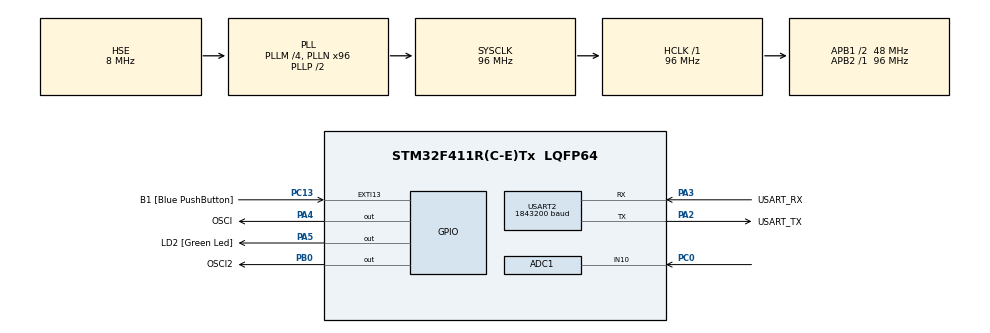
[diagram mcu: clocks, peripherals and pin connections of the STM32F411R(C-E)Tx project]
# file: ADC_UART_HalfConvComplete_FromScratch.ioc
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ADC1.Channel-0\#ChannelRegularConversion=ADC_CHANNEL_10
ADC1.ContinuousConvMode=ENABLE
ADC1.DMAContinuousRequests=ENABLE
ADC1.NbrOfConversionFlag=1
ADC1.Rank-0\#ChannelRegularConversion=1
ADC1.Resolution=ADC_RESOLUTION_8B
ADC1.SamplingTime-0\#ChannelRegularConversion=ADC_SAMPLETIME_480CYCLES
ADC1.master=1
Dma.ADC1.1.Direction=DMA_PERIPH_TO_MEMORY
Dma.ADC1.1.FIFOMode=DMA_FIFOMODE_DISABLE
Dma.ADC1.1.Instance=DMA2_Stream0
Dma.ADC1.1.MemDataAlignment=DMA_MDATAALIGN_BYTE
Dma.ADC1.1.MemInc=DMA_MINC_ENABLE
Dma.ADC1.1.Mode=DMA_CIRCULAR
Dma.ADC1.1.PeriphDataAlignment=DMA_PDATAALIGN_BYTE
Dma.ADC1.1.PeriphInc=DMA_PINC_DISABLE
Dma.ADC1.1.Priority=DMA_PRIORITY_LOW
Dma.Request0=USART2_TX
Dma.Request1=ADC1
Dma.USART2_TX.0.Direction=DMA_MEMORY_TO_PERIPH
Dma.USART2_TX.0.FIFOMode=DMA_FIFOMODE_DISABLE
Dma.USART2_TX.0.Instance=DMA1_Stream6
Dma.USART2_TX.0.MemDataAlignment=DMA_MDATAALIGN_BYTE
Dma.USART2_TX.0.MemInc=DMA_MINC_ENABLE
Dma.USART2_TX.0.Mode=DMA_NORMAL
Dma.USART2_TX.0.PeriphDataAlignment=DMA_PDATAALIGN_BYTE
Dma.USART2_TX.0.PeriphInc=DMA_PINC_DISABLE
Dma.USART2_TX.0.Priority=DMA_PRIORITY_LOW
Mcu.Family=STM32F4
Mcu.Name=STM32F411R(C-E)Tx
Mcu.Package=LQFP64
NVIC.DMA1_Stream6_IRQn=true\:0\:0\:false\:false\:true\:false\:true\:true
NVIC.DMA2_Stream0_IRQn=true\:0\:0\:false\:false\:true\:false\:true\:true
NVIC.PriorityGroup=NVIC_PRIORITYGROUP_0
NVIC.USART2_IRQn=true\:0\:0\:false\:false\:true\:true\:true\:true
PA13.GPIO_Label=TMS
PA13.Mode=Serial_Wire
PA13.Signal=SYS_JTMS-SWDIO
PA14.GPIO_Label=TCK
PA14.Mode=Serial_Wire
PA14.Signal=SYS_JTCK-SWCLK
PA2.GPIO_Label=USART_TX
PA2.Mode=Asynchronous
PA2.Signal=USART2_TX
PA3.GPIO_Label=USART_RX
PA3.Mode=Asynchronous
PA3.Signal=USART2_RX
PA4.GPIO_Label=OSCI
PA4.GPIO_Speed=GPIO_SPEED_FREQ_VERY_HIGH
PA4.Signal=GPIO_Output
PA5.GPIO_Label=LD2 [Green Led]
PA5.Signal=GPIO_Output
PB0.GPIO_Label=OSCI2
PB0.Signal=GPIO_Output
PB3.GPIO_Label=SWO
PB3.Signal=SYS_JTDO-SWO
PC0.Signal=ADCx_IN10
PC13-ANTI_TAMP.GPIO_Label=B1 [Blue PushButton]
PC13-ANTI_TAMP.GPIO_ModeDefaultEXTI=GPIO_MODE_IT_FALLING
PC13-ANTI_TAMP.Signal=GPXTI13
PC14-OSC32_IN.Mode=LSE-External-Oscillator
PC14-OSC32_IN.Signal=RCC_OSC32_IN
PC15-OSC32_OUT.Mode=LSE-External-Oscillator
PC15-OSC32_OUT.Signal=RCC_OSC32_OUT
PH0\ -\ OSC_IN.Mode=HSE-External-Clock-Source
PH0\ -\ OSC_IN.Signal=RCC_OSC_IN
PH1\ -\ OSC_OUT.Mode=HSE-External-Clock-Source
PH1\ -\ OSC_OUT.Signal=RCC_OSC_OUT
ProjectManager.HeapSize=0x800
ProjectManager.StackSize=0x1000
ProjectManager.TargetToolchain=STM32CubeIDE
RCC.48MHZClocksFreq_Value=48000000
RCC.AHBFreq_Value=96000000
RCC.APB1CLKDivider=RCC_HCLK_DIV2
RCC.APB1Freq_Value=48000000
RCC.APB1TimFreq_Value=96000000
RCC.APB2Freq_Value=96000000
RCC.APB2TimFreq_Value=96000000
RCC.CortexFreq_Value=96000000
RCC.FLatency-AdvancedSettings=FLASH_LATENCY_3
RCC.HCLKFreq_Value=96000000
RCC.HSE_VALUE=8000000
RCC.HSI_VALUE=16000000
RCC.PLLM=4
RCC.PLLN=96
RCC.PLLSourceVirtual=RCC_PLLSOURCE_HSE
RCC.SYSCLKFreq_VALUE=96000000
RCC.SYSCLKSource=RCC_SYSCLKSOURCE_PLLCLK
RCC.VCOOutputFreq_Value=192000000
SH.ADCx_IN10.0=ADC1_IN10,IN10
USART2.BaudRate=1843200
USART2.Mode=MODE_TX
USART2.VirtualMode=VM_ASYNC
board=NUCLEO-F411RE

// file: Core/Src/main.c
/* USER CODE BEGIN Header */
/**
  ******************************************************************************
  * @file           : main.c
  * @brief          : Main program body
  ******************************************************************************
  * @attention
  *
  * Copyright (c) 2022 STMicroelectronics.
  * All rights reserved.
  *
  * This software is licensed under terms that can be found in the LICENSE file
  * in the root directory of this software component.
  * If no LICENSE file comes with this software, it is provided AS-IS.
  *
  ******************************************************************************
  */
/* USER CODE END Header */
#include "main.h"
#include "adc.h"
#include "dma.h"
#include "usart.h"
#include "gpio.h"

/* USER CODE BEGIN Includes */
#include "arm_math.h"
/* USER CODE END Includes */

/* USER CODE BEGIN PD */

/*maximum 8bit values*/
#define EIGHTBIT 256
/*Length of UART array*/
#define ARRAYLEN 2048
/* USER CODE END PD */

/* USER CODE BEGIN PV */
uint8_t val[ARRAYLEN]; //values to send via UART1
uint16_t i,n; //

float FFTInBuffer[ARRAYLEN];
float FFTOutBuffer[ARRAYLEN];

arm_rfft_fast_instance_f32 FFTHandler;

volatile uint8_t SamplesReady;

uint8_t OutFreqArray[10];
/* USER CODE END PV */

void SystemClock_Config(void);
/* USER CODE BEGIN PFP */
void CalculateFFT(void);
/* USER CODE END PFP */

int main(void)
{

  /* MCU Configuration--------------------------------------------------------*/

  /* Reset of all peripherals, Initializes the Flash interface and the Systick. */
  HAL_Init();

  /* Configure the system clock */
  SystemClock_Config();

  /* Initialize all configured peripherals */
  MX_GPIO_Init();
  MX_DMA_Init();
  MX_USART2_UART_Init();
  MX_ADC1_Init();
  /* USER CODE BEGIN 2 */
  /* array generation for UART testing*/
  /*
  for(n = 0; n < ARRAYLEN/EIGHTBIT; n++){
	  for(i = 0; i < EIGHTBIT; i++){
	  	  val[n*EIGHTBIT + i] = i;
	  }
  }
  */
  HAL_ADC_Start_DMA(&hadc1,(uint32_t*) val, ARRAYLEN);

  arm_rfft_fast_init_f32(&FFTHandler, ARRAYLEN);
  /* USER CODE END 2 */

  /* Infinite loop */
  /* USER CODE BEGIN WHILE */
  while (1)
  {
	  if(SamplesReady == 1)
	  {
		  SamplesReady = 0;

		  for(uint32_t i = 0; i < ARRAYLEN; i++)
		  {
			  FFTInBuffer[i] = (float) val[i];
		  }

		  CalculateFFT();

	  }
    /* USER CODE END WHILE */

  }
}

void SystemClock_Config(void)
{
  RCC_OscInitTypeDef RCC_OscInitStruct = {0};
  RCC_ClkInitTypeDef RCC_ClkInitStruct = {0};

  /** Configure the main internal regulator output voltage
  */
  __HAL_RCC_PWR_CLK_ENABLE();
  __HAL_PWR_VOLTAGESCALING_CONFIG(PWR_REGULATOR_VOLTAGE_SCALE1);

  /** Initializes the RCC Oscillators according to the specified parameters
  * in the RCC_OscInitTypeDef structure.
  */
  RCC_OscInitStruct.OscillatorType = RCC_OSCILLATORTYPE_HSE;
  RCC_OscInitStruct.HSEState = RCC_HSE_BYPASS;
  RCC_OscInitStruct.PLL.PLLState = RCC_PLL_ON;
  RCC_OscInitStruct.PLL.PLLSource = RCC_PLLSOURCE_HSE;
  RCC_OscInitStruct.PLL.PLLM = 4;
  RCC_OscInitStruct.PLL.PLLN = 96;
  RCC_OscInitStruct.PLL.PLLP = RCC_PLLP_DIV2;
  RCC_OscInitStruct.PLL.PLLQ = 4;
  if (HAL_RCC_OscConfig(&RCC_OscInitStruct) != HAL_OK)
  {
    Error_Handler();
  }

  /** Initializes the CPU, AHB and APB buses clocks
  */
  RCC_ClkInitStruct.ClockType = RCC_CLOCKTYPE_HCLK|RCC_CLOCKTYPE_SYSCLK
                              |RCC_CLOCKTYPE_PCLK1|RCC_CLOCKTYPE_PCLK2;
  RCC_ClkInitStruct.SYSCLKSource = RCC_SYSCLKSOURCE_PLLCLK;
  RCC_ClkInitStruct.AHBCLKDivider = RCC_SYSCLK_DIV1;
  RCC_ClkInitStruct.APB1CLKDivider = RCC_HCLK_DIV2;
  RCC_ClkInitStruct.APB2CLKDivider = RCC_HCLK_DIV1;

  if (HAL_RCC_ClockConfig(&RCC_ClkInitStruct, FLASH_LATENCY_3) != HAL_OK)
  {
    Error_Handler();
  }
}

/* USER CODE BEGIN 4 */
void HAL_ADC_ConvCpltCallback(ADC_HandleTypeDef* hadc){

	if(hadc->Instance == ADC1)
	{
		HAL_UART_Transmit_DMA(&huart2,(uint8_t*)val,ARRAYLEN);
		SamplesReady = 1;
	}
}

float complexABS(float real, float compl) {
	return sqrtf(real*real+compl*compl);
}

void CalculateFFT(void)
{
	arm_rfft_fast_f32(&FFTHandler, FFTInBuffer, FFTOutBuffer, 0);

	int Freqs[ARRAYLEN];
	int FreqPoint = 0;
	int Offset = 45; //variable noise floor offset

	//calculate abs values and linear-to-dB
	for (int i = 0; i < ARRAYLEN; i = i+2)
	{
		Freqs[FreqPoint] = (int)(20*log10f(complexABS(FFTOutBuffer[i], FFTOutBuffer[i+1]))) - Offset;

		if(Freqs[FreqPoint] < 0)
		{
			Freqs[FreqPoint] = 0;
		}
		FreqPoint++;
	}

	OutFreqArray[0] = (uint8_t)Freqs[1]; // 22 Hz
	OutFreqArray[1] = (uint8_t)Freqs[3]; // 63 Hz
	OutFreqArray[2] = (uint8_t)Freqs[6]; // 125 Hz
	OutFreqArray[3] = (uint8_t)Freqs[11]; // 250 Hz
	OutFreqArray[4] = (uint8_t)Freqs[21]; // 500 Hz
	OutFreqArray[5] = (uint8_t)Freqs[42]; // 1000 Hz
	OutFreqArray[6] = (uint8_t)Freqs[93]; // 2200 Hz
	OutFreqArray[7] = (uint8_t)Freqs[189]; // 4500 Hz
	OutFreqArray[8] = (uint8_t)Freqs[378]; // 9000 Hz
	OutFreqArray[9] = (uint8_t)Freqs[630]; // 15000 Hz

}

/* USER CODE END 4 */

void Error_Handler(void)
{
  __disable_irq();
  while (1)
  {
  }
}
